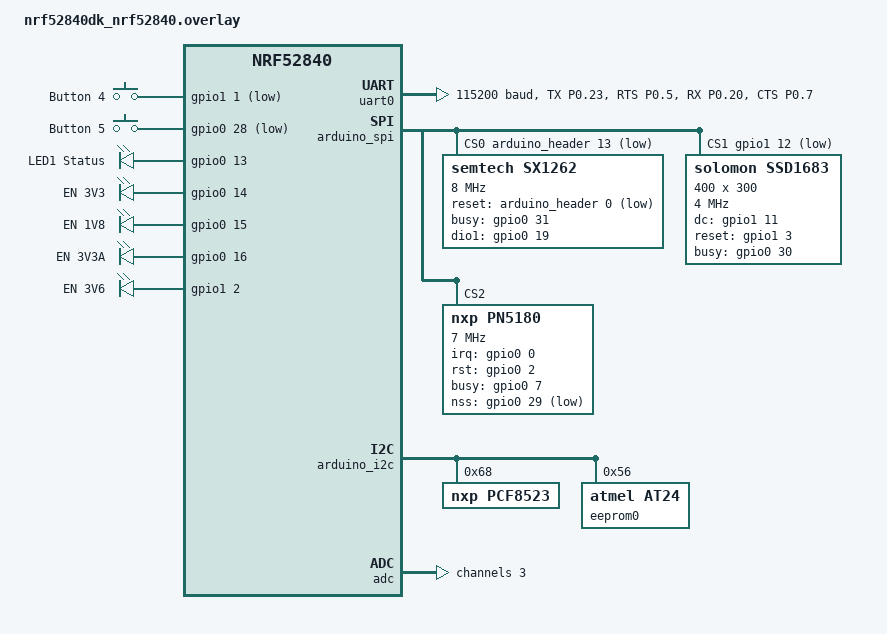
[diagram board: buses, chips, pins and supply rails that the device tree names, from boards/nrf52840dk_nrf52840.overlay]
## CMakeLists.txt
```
# SPDX-License-Identifier: Apache-2.0
#
# FlexBox factory self-test image — minimal app sources (no LoRaWAN/SMF/NFC
# service threads; main.c drives peripherals directly).

cmake_minimum_required(VERSION 3.20.0)

set(ZEPHYR_EXTRA_MODULES
  ${CMAKE_CURRENT_SOURCE_DIR}/pn5180
  ${CMAKE_CURRENT_SOURCE_DIR}/ssd1683
)

find_package(Zephyr REQUIRED HINTS $ENV{ZEPHYR_BASE})
project(flexbox_test_suite)

target_include_directories(app PRIVATE
  ${CMAKE_CURRENT_SOURCE_DIR}/include
  ${CMAKE_CURRENT_SOURCE_DIR}/assets/fonts
)

target_sources(app PRIVATE
  src/main.c
  src/power_ctrl.c
  src/rail_manager.c
  src/buttons.c
  src/leds.c
  src/rtc.c
  src/display_manager.c
  src/last_cleaned_store.c
  assets/fonts/roboto_20.c
  assets/fonts/roboto_28.c
  assets/fonts/roboto_36.c
  assets/fonts/roboto_bold_42.c
)
```

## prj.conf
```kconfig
# --- 1. System & Kernel ---
CONFIG_MULTITHREADING=y
CONFIG_TICKLESS_KERNEL=y
CONFIG_REBOOT=y
CONFIG_POWEROFF=y
CONFIG_HEAP_MEM_POOL_SIZE=8192
CONFIG_MAIN_STACK_SIZE=32768
CONFIG_SYSTEM_WORKQUEUE_STACK_SIZE=4096

# --- 2. Hardware Bus Drivers ---
CONFIG_GPIO=y
CONFIG_SPI=y
CONFIG_I2C=y
CONFIG_ADC=y

# --- 3. External Peripherals ---
# NFC (PN5180)
CONFIG_PN5180=y

# RTC (PCF8523)
CONFIG_RTC=y
CONFIG_RTC_PCF8523=y

# EEPROM (AT24)
CONFIG_EEPROM=y
CONFIG_EEPROM_AT24=y
CONFIG_CRC=y

# --- 4. Display & Graphics (SSD1683 E-Paper) ---
CONFIG_DISPLAY=y
CONFIG_SSD1683=y

CONFIG_LVGL=y
CONFIG_LV_Z_MEM_POOL_SIZE=32768
CONFIG_LV_USE_LABEL=y
CONFIG_LV_LABEL_TEXT_SELECTION=y
CONFIG_LV_LABEL_LONG_TXT_HINT=y
CONFIG_LV_USE_LINE=y
CONFIG_LV_FONT_FMT_TXT_LARGE=y
CONFIG_LV_COLOR_DEPTH_1=y
CONFIG_LV_DPI_DEF=100

# --- 5. LoRa PHY (raw driver for QA ping/pong; no LoRaWAN MAC in this image) ---
CONFIG_LORA=y
CONFIG_LORA_SX126X=y

# --- 6. Security & Stability ---
CONFIG_MPU=y
CONFIG_ARM_MPU=y
CONFIG_MPU_STACK_GUARD=y
CONFIG_THREAD_STACK_INFO=y
CONFIG_INIT_STACKS=y
CONFIG_STACK_CANARIES=y
CONFIG_MPU_ALLOW_FLASH_WRITE=y

# --- 7. Logging & Console (Optimized) ---
CONFIG_LOG=y
# Set to DEFERRED for production power savings; IMMEDIATE is for debugging only.
CONFIG_LOG_MODE_DEFERRED=y 
CONFIG_LOG_DEFAULT_LEVEL=3
# CONFIG_SERIAL=y
# CONFIG_CONSOLE=y
# CONFIG_UART_CONSOLE=y



# Enable Tracing
CONFIG_TRACING=y
CONFIG_SEGGER_SYSTEMVIEW=y

# SystemView requires RTT (Real-Time Transfer)
CONFIG_USE_SEGGER_RTT=y
# CONFIG_HAS_SEGGER_RTT=y

# Optional: Increase RTT buffer size if you have many threads (like LoRa + LVGL)
CONFIG_SEGGER_RTT_SECTION_NONE=y
CONFIG_SEGGER_SYSVIEW_RTT_BUFFER_SIZE=4096
```

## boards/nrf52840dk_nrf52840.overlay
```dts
/ {
    chosen {
        zephyr,display = &ssd1683;
    };

    aliases {
        sw0 = &button0;
        sw1 = &button1;
        sw2 = &button2;
        sw3 = &button3;
        sw4 = &button4;
        sw5 = &button5;
        led0 = &led0;
        lora0 = &lora_semtech_sx1262mb2das;
    };

    buttons {
        compatible = "gpio-keys";

        button4: button_4 {
            label = "Button 4";
            gpios = <&gpio1 1 (GPIO_ACTIVE_LOW | GPIO_PULL_UP)>;
        };

        button5: button_5 {
            label = "Button 5";
            gpios = <&gpio0 28 (GPIO_ACTIVE_LOW | GPIO_PULL_UP)>;
        };
    };

leds {
		compatible = "gpio-leds";

		led0: led_0 {
			gpios = <&gpio0 13 GPIO_ACTIVE_HIGH>;
			label = "LED1 Status";
		};
	};

enables {
		compatible = "gpio-leds";

		en3v3: en3v3 {
			gpios = <&gpio0 14 GPIO_ACTIVE_HIGH>;
			label = "EN 3V3";
		};

		en1v8: en1v8 {
			gpios = <&gpio0 15 GPIO_ACTIVE_HIGH>;
			label = "EN 1V8";
		};

		en3v3a: en3v3a {
			gpios = <&gpio0 16 GPIO_ACTIVE_HIGH>;
			label = "EN 3V3A";
		};

		en3v6: en3v6 {
			gpios = <&gpio1 2 GPIO_ACTIVE_HIGH>;
			label = "EN 3V6";
		};
	};
};



&spi1 {
	status="disabled";
};

&qspi {
	status="disabled";
};

&pwm0 {
	status="disabled";
};


/* ---------- PINCTRL configuration ---------- */
&pinctrl {
    uart0_default: uart0_default {
        group1 {
            psels = <NRF_PSEL(UART_TX, 0, 23)>,
                    <NRF_PSEL(UART_RTS, 0, 5)>;
        };
        group2 {
            psels = <NRF_PSEL(UART_RX, 0, 20)>,
                    <NRF_PSEL(UART_CTS, 0, 7)>;
            bias-pull-up;
        };
    };

    uart0_sleep: uart0_sleep {
        group1 {
            psels = <NRF_PSEL(UART_TX, 0, 23)>,
                    <NRF_PSEL(UART_RX, 0, 20)>,
                    <NRF_PSEL(UART_RTS, 0, 5)>,
                    <NRF_PSEL(UART_CTS, 0, 7)>;
            low-power-enable;
        };
    };
};

/* ---------- UART configuration ---------- */
&uart0 {
    compatible = "nordic,nrf-uarte";
    status = "okay";
    current-speed = <115200>;

    /* Link pinctrl groups */
    pinctrl-0 = <&uart0_default>;
    pinctrl-1 = <&uart0_sleep>;
    pinctrl-names = "default", "sleep";

    /* Optional: disable HW flow control if not used */
    // hw-flow-control;
};



&arduino_spi {
	status = "okay";

	/* CS pins for each SPI device: [0]=LoRa, [1]=EPD, [2]=NFC */
	cs-gpios = <&arduino_header 13 GPIO_ACTIVE_LOW>, /* LoRa CS - P1.08 */
	           <&gpio1 12 GPIO_ACTIVE_LOW>;           /* EPD CS - P1.12 */


	// SX1262 SHIELD
	// lora_semtech_sx1262mb2das: sx1262@0 {
	// 	compatible = "semtech,sx1262";
	// 	reg = <0>;
	// 	spi-max-frequency = <7000000>;
	// 	label = "SX1262";
	// 	reset-gpios = <&arduino_header 0 GPIO_ACTIVE_LOW>;
	// 	busy-gpios = <&arduino_header 9 GPIO_ACTIVE_HIGH>;
	// 	antenna-enable-gpios = <&arduino_header 14 GPIO_ACTIVE_HIGH>;
	// 	dio1-gpios = <&arduino_header 11 GPIO_ACTIVE_HIGH>;
	// 	dio2-tx-enable;
	// 	tcxo-power-startup-delay-ms = <5>;
	// };

	// LR62E
	// lora_semtech_sx1262mb2das: sx1262@0 {
	// compatible = "semtech,sx1262";
	// reg = <0>;
	// spi-max-frequency = <7000000>;
	// label = "SX1262";
	// reset-gpios = <&arduino_header 0 GPIO_ACTIVE_LOW>; // 0,3
	// busy-gpios = <&gpio0 31 GPIO_ACTIVE_HIGH>; // 0,31
	// antenna-enable-gpios = <&arduino_header 14 GPIO_ACTIVE_HIGH>; // 1,10
	// dio1-gpios = <&gpio0 19 (GPIO_PULL_DOWN | GPIO_ACTIVE_HIGH)>;
	// dio2-tx-enable;
	// tcxo-power-startup-delay-ms = <5>;

	// // SEEED WIO
	lora_semtech_sx1262mb2das: sx1262@0 {
	compatible = "semtech,sx1262";
	reg = <0>;
	/* SPI */
	spi-max-frequency = <8000000>;
	label = "SX1262";
	/* Control signals */
	reset-gpios = <&arduino_header 0 GPIO_ACTIVE_LOW>; /* P0.03 */
	busy-gpios  = <&gpio0 31 GPIO_ACTIVE_HIGH>;        /* P0.31 */
	dio1-gpios  = <&gpio0 19 GPIO_ACTIVE_HIGH>;        /* P0.19 */
	/* TCXO (Wio-SX1262 uses DIO3 @ 1.8V) */
	dio3-tcxo-voltage = <0x02>;
	tcxo-power-startup-delay-ms = <10>;
	/* RF switch handled internally via DIO2 */
	dio2-tx-enable;
	status = "okay";

	};

	ssd1683: ssd1683@1 {
	compatible = "solomon,ssd1683";
	reg = <1>;
	spi-max-frequency = <4000000>;
	/* Display dimensions */
	width = <400>;
	height = <300>;
	/* Control GPIOs */
	dc-gpios = <&gpio1 11 GPIO_ACTIVE_HIGH>;
	reset-gpios = <&gpio1 3 GPIO_ACTIVE_HIGH>;
	busy-gpios = <&gpio0 30 GPIO_ACTIVE_HIGH>;

	};

	pn5180: pn5180@2 {
 		compatible = "nxp,pn5180";
		reg = <2>;
		spi-max-frequency = <7000000>;
		irq-gpios = <&gpio0 0 GPIO_ACTIVE_HIGH>;
		rst-gpios = <&gpio0 2 GPIO_ACTIVE_HIGH>;
		busy-gpios = <&gpio0 7 GPIO_ACTIVE_HIGH>;
		nss-gpios = <&gpio0 29 (GPIO_ACTIVE_LOW | GPIO_PULL_UP)	>;
		timeout-ms = <1000>;
	};


};

/* PCF8523 RTC on I2C (address 0x68).
 * Adjust wiring/pins by switching to &i2c0 / &i2c1 if needed, but
 * nrf52840dk's &arduino_i2c is usually routed to the Arduino header.
 */
&arduino_i2c {
	status = "okay";

	pcf8523: pcf8523@68 {
		compatible = "nxp,pcf8523";
		reg = <0x68>;
		/* Required by binding: choose "disabled" unless you have VBAT wired */
		battery-switch-over = "standard";
		/* Optional: disable CLKOUT to save power/noise */
		clkout-frequency = <0>;
	};

	/*
	 * External EEPROM (Microchip 24AA512/24LC512/24FC512, 512 Kbit = 64 KiB)
	 * I2C address: 0x56 (as wired on your custom board)
	 */
	eeprom0: eeprom@56 {
		compatible = "atmel,at24";
		reg = <0x56>;
		size = <65536>;
		pagesize = <128>;
		address-width = <16>;
		/* Binding requires a timeout (ms) for write-cycle completion polling */
		timeout = <5>;
	};
};

&adc {
    status = "okay";
    #address-cells = <1>;
    #size-cells = <0>;

    channel@3 {
        reg = <3>;
        zephyr,gain = "ADC_GAIN_1_3";
        zephyr,reference = "ADC_REF_INTERNAL";
        zephyr,acquisition-time = <ADC_ACQ_TIME_DEFAULT>;
        zephyr,input-positive = <NRF_SAADC_AIN3>;
        zephyr,resolution = <10>;
    };
};
```

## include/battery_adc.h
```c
#ifndef BATTERY_ADC_H
#define BATTERY_ADC_H

#include <stdint.h>

/**
 * @brief Initialize battery ADC channel (AIN3 on nRF52840DK).
 *
 * Call once at boot (after rails/I2C are ready). Returns 0 on success.
 */
int battery_adc_init(void);

/**
 * @brief Read battery voltage in millivolts.
 *
 * Synchronously reads one ADC sample and converts to VBAT millivolts using
 * the configured resistor divider. Caller should ensure any required power
 * rails (e.g. 3.3A) are enabled.
 *
 * @param battery_mv Output millivolts.
 * @return 0 on success, negative errno on failure.
 */
int battery_adc_read_mv(int32_t *battery_mv);

#endif /* BATTERY_ADC_H */
```

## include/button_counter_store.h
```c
#ifndef BUTTON_COUNTER_STORE_H
#define BUTTON_COUNTER_STORE_H

#include <stdint.h>

/**
 * @brief Initialize persistent per-button counters.
 *
 * EEPROM is mandatory: on failure, returns a negative errno.
 */
int button_counter_store_init(void);

/**
 * @brief Increment and return the counter for a given button.
 *
 * @param button_id 0..NUM_BUTTONS-1
 * @param out_counter Optional; receives new counter value.
 * @return 0 on success, negative errno on failure.
 */
int button_counter_store_inc(uint8_t button_id, uint32_t *out_counter);

/**
 * @brief Get current counter value for a given button.
 *
 * @param button_id 0..NUM_BUTTONS-1
 * @param out_counter Output.
 * @return 0 on success, negative errno on failure.
 */
int button_counter_store_get(uint8_t button_id, uint32_t *out_counter);

/**
 * @brief Factory reset the persistent counter area in EEPROM.
 *
 * Erases the counter slots and writes an initial zeroed record.
 *
 * @return 0 on success, negative errno on failure.
 */
int button_counter_store_factory_reset(void);

#endif /* BUTTON_COUNTER_STORE_H */
```

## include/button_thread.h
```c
#ifndef BUTTON_THREAD_H
#define BUTTON_THREAD_H

#include <zephyr/kernel.h>

/* Thread is defined in button_thread.c */
extern const k_tid_t button_uplink_thread_id;

#endif /* BUTTON_THREAD_H */
```

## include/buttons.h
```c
#ifndef BUTTONS_H
#define BUTTONS_H

#include "sys_config.h"
#include <stdbool.h>
#include <stdint.h>
#include <zephyr/devicetree.h>
#include <zephyr/drivers/gpio.h>
#include <zephyr/kernel.h>

// NUM_BUTTONS is now defined in sys_config.h

extern const struct gpio_dt_spec buttons[NUM_BUTTONS];

typedef enum { BUTTON_EVENT_PRESS, BUTTON_EVENT_RELEASE } button_event_type_t;

typedef struct {
  uint8_t button_id;
  button_event_type_t type;
  int64_t timestamp_ms;
} button_event_t;

int buttons_init(void);
bool buttons_get_event(button_event_t *event, k_timeout_t timeout);
/** Current mask of pressed buttons (bit i set = button i pressed). Use to sync held state. */
uint32_t buttons_get_held_mask(void);

#endif // BUTTONS_H
```

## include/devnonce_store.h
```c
#ifndef DEVNONCE_STORE_H
#define DEVNONCE_STORE_H

#include <stdint.h>

/**
 * @brief Initialize persistent DevNonce storage.
 *
 * Uses external EEPROM (eeprom0). On failure returns negative errno.
 */
int devnonce_store_init(void);

/**
 * @brief Allocate the next DevNonce value (monotonic) and persist it.
 *
 * This function reserves the value in EEPROM before returning it, so that
 * even if the device resets mid-join, the same DevNonce will not be reused.
 *
 * @param out_nonce Output DevNonce (0..65535)
 * @return 0 on success, negative errno on failure.
 */
int devnonce_store_next(uint16_t *out_nonce);

/**
 * @brief Factory reset: erase DevNonce store and reinitialize with random value.
 *
 * This erases both EEPROM slots and reinitializes with a new random starting
 * DevNonce. Use this if you're getting OTAA errors and want to start fresh.
 *
 * @return 0 on success, negative errno on failure.
 */
int devnonce_store_factory_reset(void);

#endif /* DEVNONCE_STORE_H */
```

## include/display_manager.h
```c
/**
 * Display manager: EPD screen state and work queue.
 * When EPD_ENABLED=0, all APIs are no-ops.
 */
#ifndef DISPLAY_MANAGER_H
#define DISPLAY_MANAGER_H

#include <stdint.h>

#ifdef __cplusplus
extern "C" {
#endif

enum display_screen_id {
  DISPLAY_SCREEN_LOGO,
  DISPLAY_SCREEN_LAST_CLEANED,
  DISPLAY_SCREEN_THANKS,
  DISPLAY_SCREEN_CLEANING,
  DISPLAY_SCREEN_CONNECTING,
  DISPLAY_SCREEN_DEVICE_INFO,
  DISPLAY_SCREEN_BEACON,
  DISPLAY_SCREEN_COUNT
};

/** Call once after last_cleaned_store and (if EPD) display driver are ready. */
int display_manager_init(void);

/** Show logo ("FeedBackNow FlexBox"). */
void display_show_logo(void);

/** Show last cleaned: read from store (or use pending from downlink 0x01), then render. */
void display_show_last_cleaned(void);

/** Show thanks; starts 5s timer then transitions to last cleaned. */
void display_show_thanks(void);

/** Show cleaning; starts 45min auto-revert timer. */
void display_show_cleaning(void);

/** Show connecting. */
void display_show_connecting(void);

/** Show device info (optional). */
void display_show_device_info(void);

/**
 * Set pending last cleaned epoch (from downlink 0x01). Applied when we next show
 * last cleaned (after Thanks+5s or immediately).
 */
void display_set_pending_last_cleaned(uint32_t epoch);

/**
 * Set pending and apply now if not currently showing Thanks (else apply after Thanks+5s).
 */
void display_set_pending_last_cleaned_and_apply(uint32_t epoch);

/** Enqueue full refresh (clear ghosting). */
void display_request_full_refresh(void);

/**
 * LoRa QA beacon (BEACON_MODE): EPD matches self-test style — title, rules,
 * left/right metric rows (idle vs last exchange). No-op when EPD_ENABLED is 0.
 */
void display_beacon_show_listening(void);

/** After a successful ping/pong: refresh rows (rssi / snr / pong #). */
void display_beacon_show_last_pong(int16_t rssi, int8_t snr, uint16_t pong_index);

#ifdef __cplusplus
}
#endif

#endif /* DISPLAY_MANAGER_H */
```

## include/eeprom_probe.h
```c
#ifndef EEPROM_PROBE_H
#define EEPROM_PROBE_H

/**
 * @brief Probe external EEPROM and log basic readiness/read results.
 *
 * Safe to call even if EEPROM is absent; it will log warnings and return.
 */
void eeprom_probe_log(void);

#endif /* EEPROM_PROBE_H */
```

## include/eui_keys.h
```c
#ifndef EUI_KEYS_H
#define EUI_KEYS_H

/*
 * LoRaWAN identifiers/keys
 *
 * Keep these isolated from application logic so they are easy to rotate and
 * audit. This header is intentionally simple: it only defines the macros
 * consumed by the LoRaWAN join code.
 *
 * NOTE: Consider keeping this file out of version control for real products.
 */

/* BEGIN GENERATED BY gen_euis.py (do not edit by hand) */
#define LORAWAN_DEV_EUI                                                        \
  { 0x46, 0x4c, 0x58, 0x71, 0x81, 0x32, 0xe9, 0x08 }

#define LORAWAN_JOIN_EUI                                                       \
  { 0xea, 0xf2, 0x42, 0x8a, 0x14, 0xdb, 0xfd, 0x07 }

#define LORAWAN_APP_KEY                                                        \
  {                                                                            \
    0xdb, 0x6c, 0xe8, 0x11, 0xb1, 0xda, 0xb5, 0x55, 0x7f, 0x8b, 0xbc, 0x33,    \
        0xf0, 0x0d, 0x85, 0x0f                                                 \
  }
/* END GENERATED BY gen_euis.py */

/*
 * Alternative key sets (kept here for convenience; comment/uncomment as needed)
 *
 * #define LORAWAN_DEV_EUI  { ... }
 * #define LORAWAN_JOIN_EUI { ... }
 * #define LORAWAN_APP_KEY  { ... }
 */

#endif /* EUI_KEYS_H */
```

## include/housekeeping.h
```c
/**
 * Housekeeping / heartbeat worker (FRD 4.9).
 *
 * Single periodic worker that runs a task list each tick. Does not call
 * lorawan_* APIs; it requests actions via LoRa command queue (time sync)
 * or uplink queue (heartbeat payload). SMF remains the orchestrator;
 * housekeeping is an autonomous worker that posts no events to SMF for now.
 *
 * Current tasks: RTC sync (request LoRa thread to run DeviceTimeReq).
 * Future: link check request, battery ADC + heartbeat uplink (Event 0x04),
 * low-battery uplink (Event 0x05).
 */
#ifndef HOUSEKEEPING_H
#define HOUSEKEEPING_H

#include <zephyr/kernel.h>

/**
 * Start the housekeeping thread. Call once after LoRa and SMF are running.
 * Thread sleeps HOUSEKEEPING_INTERVAL_SECONDS then runs tasks in a loop.
 */
int housekeeping_init(void);

/** Thread ID for main to start (K_THREAD_DEFINE with delay = -1). */
extern const k_tid_t housekeeping_thread_id;

#endif /* HOUSEKEEPING_H */
```

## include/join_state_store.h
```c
/**
 * Persistent "has joined once" flag in EEPROM.
 * First boot: has_joined_once = 0 → device does not auto-join; user must
 * trigger deliberate join (Staff + 0+1+2). After first successful join we set
 * the flag so subsequent boots auto-join.
 */
#ifndef JOIN_STATE_STORE_H
#define JOIN_STATE_STORE_H

#include <stdbool.h>

/** Initialize store (load from EEPROM). Call once before get/set. */
int join_state_store_init(void);

/** Get has_joined_once. Returns 0 and sets *out; -EINVAL if out is NULL. */
int join_state_store_has_joined_once(bool *out);

/** Set has_joined_once = true and persist to EEPROM. */
int join_state_store_set_has_joined_once(void);

#endif /* JOIN_STATE_STORE_H */
```

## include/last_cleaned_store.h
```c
/**
 * Last cleaned display store (EEPROM).
 * Holds the epoch timestamp shown on the EPD "last cleaned" screen.
 * Written by: NFC check-out (RTC value), downlink 0x01 when applied.
 * RTC remains the gold standard for uplinks; this store is display-only.
 */
#ifndef LAST_CLEANED_STORE_H
#define LAST_CLEANED_STORE_H

#include <stdbool.h>
#include <stdint.h>

#ifdef __cplusplus
extern "C" {
#endif

/** Call once after EEPROM is available (e.g. from display_manager_init). */
int last_cleaned_store_init(void);

/**
 * Read the stored epoch. If never written, returns false and *epoch_out unchanged.
 * @return true if store has a valid value, false if empty/unreadable
 */
bool last_cleaned_store_get(uint32_t *epoch_out);

/**
 * Write epoch to store (e.g. from RTC on check-out, or from downlink 0x01 payload).
 */
int last_cleaned_store_set(uint32_t epoch);

/**
 * If store is empty (never written), write current_epoch and return 0.
 * Used at boot for "visual symmetry" so first screen shows a valid time.
 */
int last_cleaned_store_ensure_non_empty(uint32_t current_epoch);

#ifdef __cplusplus
}
#endif

#endif /* LAST_CLEANED_STORE_H */
```

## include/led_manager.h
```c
/**
 * LED UI — event-driven, RTOS-friendly.
 *
 * Single LED thread owns GPIO and timing. Callers post a pattern id and return.
 * All patterns are on/off or timed blinks (no PWM). Safe to call from any
 * thread.
 */
#ifndef LED_MANAGER_H
#define LED_MANAGER_H

#include <stdint.h>

/** Pattern ids (FRD 4.4). Post one of these; thread runs it and then goes idle
 * or repeats until next command. */
enum led_pattern_id {
  LED_PATTERN_OFF,
  LED_PATTERN_ON, /**< Solid on until next command (Staff, Reboot hold) */
  LED_PATTERN_BUTTON_ACCEPTED, /**< Solid 1s then off */
  LED_PATTERN_JOIN_SUCCESS,    /**< 3 quick flashes */
  LED_PATTERN_NFC_WAITING,     /**< 1 Hz blink until next command */
  LED_PATTERN_NFC_FAIL,        /**< 3 fast blinks then off */
  LED_PATTERN_CONFIRM,     /**< 3 blinks ~2s (check-in/out/registered vote) */
  LED_PATTERN_REBOOT_HOLD, /**< Solid for REBOOT_MS then off */
  LED_PATTERN_POWER_ON,    /**< 2 quick flashes (e.g. at boot) */
  LED_PATTERN_COUNT
};

/** Init GPIO and start LED thread. Call once from main. */
int led_manager_init(void);

/**
 * Show a pattern on the given LED. Non-blocking; queued.
 * @param led_id  LED index (0 .. NUM_LEDS-1)
 * @param pattern Pattern id (e.g. LED_PATTERN_OFF, LED_PATTERN_JOIN_SUCCESS)
 * @return 0 on success, -EINVAL if bad args, -ENOMEM if queue full
 */
int led_manager_show(uint8_t led_id, enum led_pattern_id pattern);

#endif /* LED_MANAGER_H */
```
